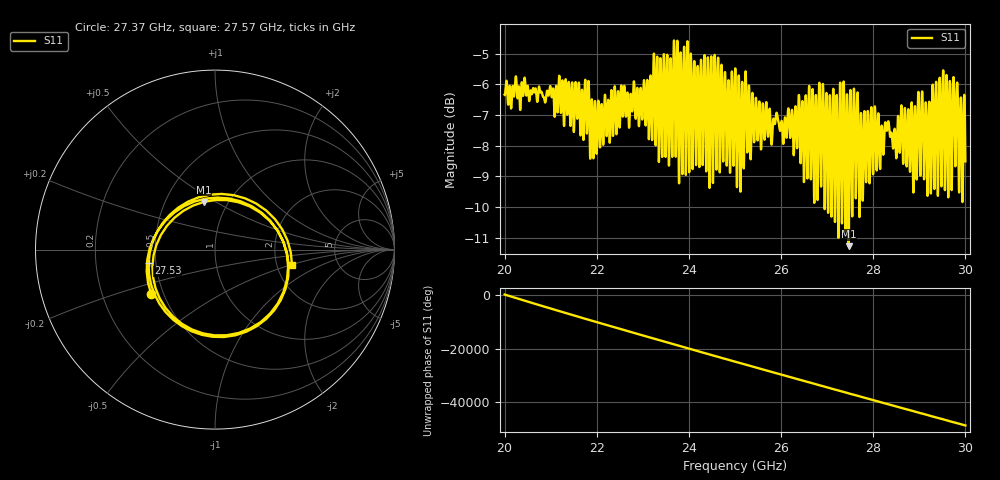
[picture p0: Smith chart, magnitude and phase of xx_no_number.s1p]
#  HZ  S  RI  R  50.00
! Rohde & Schwarz ZVA40 4Ports - Version 3.90 - 1145.1110k42 SN: 100403
! Date: 2023-09-28 12:00:43
! Measurement: S22
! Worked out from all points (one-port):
!   5001 points, 20 GHz to 30 GHz, reference 50 ohm
!   lowest |S11| = -11.3 dB at 27.47 GHz (marker M1), VSWR 1.75, Z = 38.6 + j22.2 ohm
!   |S11| at or under -10 dB: 27.16318 GHz to 27.1764 GHz (13.22 MHz wide, 0.0487 % of centre); 27.23474 GHz to 27.25264 GHz (17.9 MHz wide, 0.0657 % of centre); 27.45747 GHz to 27.47693 GHz (19.46 MHz wide, 0.0708 % of centre)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
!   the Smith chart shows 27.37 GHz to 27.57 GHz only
!   S11 on the Smith chart (normalised r, x): 27.37 GHz: 0.43, -0.26; 27.53 GHz: 0.46, -0.08; 27.57 GHz: 2.43, -0.51
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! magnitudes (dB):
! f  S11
! 20 GHz  -6.3
! 21.25 GHz  -5.9
! 21.79 GHz  -7.6
! 21.89 GHz  -6.5
! 22.5 GHz  -7.4
! 23.27 GHz  -7.9
! 23.6 GHz  -5.1
! 23.71 GHz  -8.3
! 23.75 GHz  -4.6
! 24.3 GHz  -8.6
! 24.48 GHz  -5.1
! 24.6 GHz  -8.8
! 25 GHz  -5.7
! 26.25 GHz  -7.1
! 27.37 GHz  -7.3
! 27.43 GHz  -6.3
! 27.47 GHz  -11.3
! 27.5 GHz  -6.3
! 27.53 GHz  -8.5
! 27.57 GHz  -7.2
! 28.75 GHz  -7.2
! 29.02 GHz  -9.0
! 29.21 GHz  -6.6
! 29.55 GHz  -9.4
! 29.66 GHz  -5.9
! 29.78 GHz  -8.6
! 29.9 GHz  -6.4
! 30 GHz  -8.5
